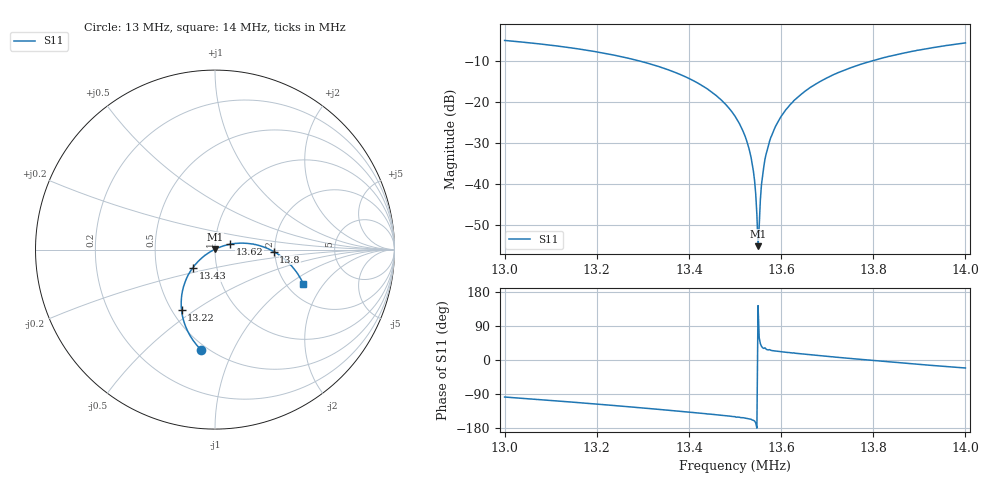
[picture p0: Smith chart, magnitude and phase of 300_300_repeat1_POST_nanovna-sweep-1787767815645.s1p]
! S11 from 300_300_repeat1_POST_nanovna-sweep-1787767815645.csv, converted by the rf-network-modeller history importer
# HZ S RI R 50
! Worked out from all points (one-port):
!   401 points, 13 MHz to 14 MHz, reference 50 ohm
!   lowest |S11| = -55.3 dB at 13.55 MHz (marker M1), VSWR 1.00, Z = 49.9 + j0.102 ohm
!   |S11| at or under -10 dB: 13.29 MHz to 13.8 MHz (502.6 kHz wide, 3.71 % of centre)
!   S11 on the Smith chart (normalised r, x): 13 MHz: 0.46, -0.76; 13.22 MHz: 0.56, -0.44; 13.43 MHz: 0.77, -0.16; 13.62 MHz: 1.18, +0.07; 13.8 MHz: 1.97, -0.05; 14 MHz: 2.45, -1.29
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1.3e7  -0.0756 -0.56
1.3125e7  -0.1552 -0.4485
1.3225e7  -0.1863 -0.338
1.325e7  -0.1884 -0.3083
1.3375e7  -0.1576 -0.1588
1.34275e7  -0.1238 -0.101
1.347e7  -0.0875 -0.0595
1.35e7  -0.0578 -0.0339
1.352e7  -0.0361 -0.0185
1.35325e7  -0.0219 -0.00976
1.354e7  -0.0132 -0.00502
1.35425e7  -0.0103 -0.00351
1.3545e7  -0.00722 -0.00183
1.35475e7  -0.00416 -8.44e-06
1.355e7  -0.00138 0.00102
1.35525e7  0.00157 0.00258
1.3555e7  0.00459 0.00433
1.356e7  0.0107 0.00673
1.35625e7  0.0139 0.00818
1.35725e7  0.0262 0.0132
1.35925e7  0.0516 0.0218
1.36175e7  0.0843 0.0302
1.3625e7  0.094 0.0314
1.36775e7  0.1645 0.0357
1.375e7  0.2598 0.0185
1.3805e7  0.3271 -0.0111
1.3875e7  0.4002 -0.0642
1.4e7  0.492 -0.1901
